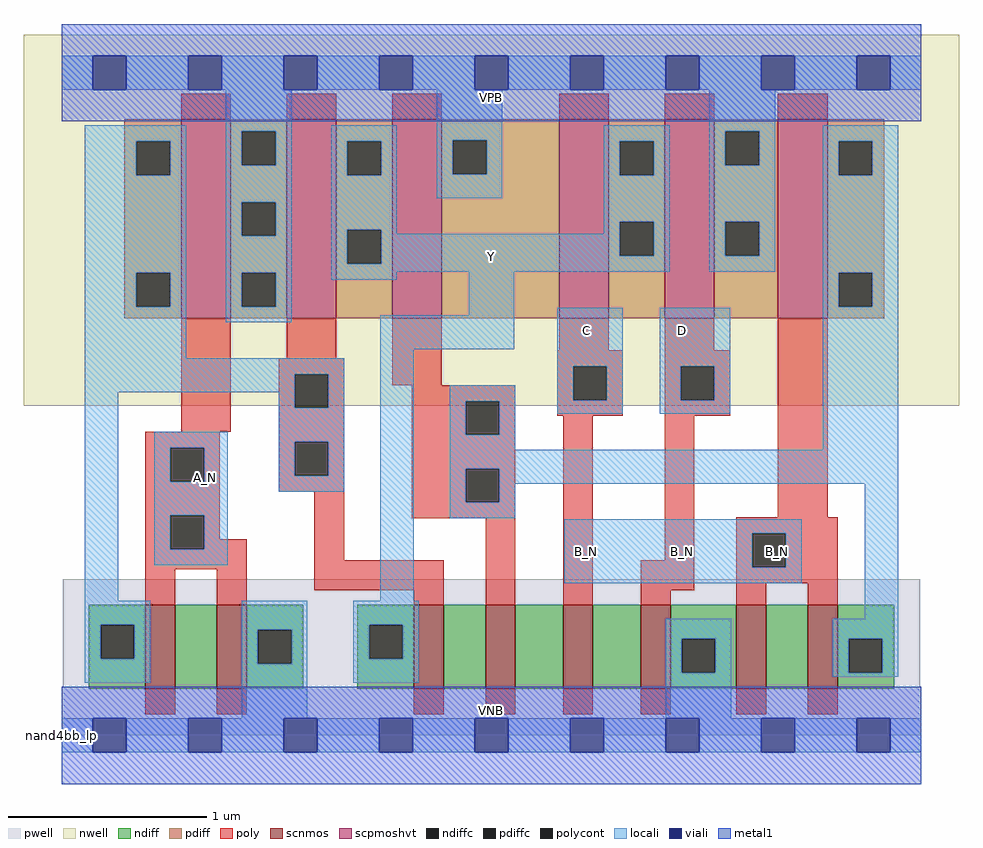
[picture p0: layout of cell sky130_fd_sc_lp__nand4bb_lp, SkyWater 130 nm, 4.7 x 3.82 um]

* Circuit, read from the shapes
.subckt sky130_fd_sc_lp__nand4bb_lp A_N B_N C D VGND VNB VPB VPWR Y
XM1 n1 A_N n2 VNB sky130_fd_pr__nfet_01v8 w=0.42 l=0.15
XM2 VGND A_N n1 VNB sky130_fd_pr__nfet_01v8 w=0.42 l=0.15
XM3 n3 n2 Y VNB sky130_fd_pr__nfet_01v8 w=0.42 l=0.15
XM4 n4 n5 n3 VNB sky130_fd_pr__nfet_01v8 w=0.42 l=0.15
XM5 n6 C n4 VNB sky130_fd_pr__nfet_01v8 w=0.42 l=0.15
XM6 VGND D n6 VNB sky130_fd_pr__nfet_01v8 w=0.42 l=0.15
XM7 n7 B_N VGND VNB sky130_fd_pr__nfet_01v8 w=0.42 l=0.15
XM8 n5 B_N n7 VNB sky130_fd_pr__nfet_01v8 w=0.42 l=0.15
XM9 VPWR A_N n2 VPB sky130_fd_pr__pfet_01v8_hvt w=1 l=0.25
XM10 Y n2 VPWR VPB sky130_fd_pr__pfet_01v8_hvt w=1 l=0.25
XM11 VPWR n5 Y VPB sky130_fd_pr__pfet_01v8_hvt w=1 l=0.25
XM12 Y C VPWR VPB sky130_fd_pr__pfet_01v8_hvt w=1 l=0.25
XM13 VPWR D Y VPB sky130_fd_pr__pfet_01v8_hvt w=1 l=0.25
XM14 n5 B_N VPWR VPB sky130_fd_pr__pfet_01v8_hvt w=1 l=0.25
.ends

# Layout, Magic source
magic
tech sky130A
magscale 1 2
<< nwell >>
rect -38 331 902 704
<< pwell >>
rect 1 49 863 157
rect 0 0 864 49
<< scnmos >>
rect 84 47 114 131
rect 156 47 186 131
rect 354 47 384 131
rect 426 47 456 131
rect 504 47 534 131
rect 582 47 612 131
rect 678 47 708 131
rect 750 47 780 131
<< scpmoshvt >>
rect 120 419 170 619
rect 226 419 276 619
rect 332 419 382 619
rect 500 419 550 619
rect 606 419 656 619
rect 720 419 770 619
<< ndiff >>
rect 27 111 84 131
rect 27 77 39 111
rect 73 77 84 111
rect 27 47 84 77
rect 114 47 156 131
rect 186 106 243 131
rect 186 72 197 106
rect 231 72 243 106
rect 186 47 243 72
rect 297 111 354 131
rect 297 77 309 111
rect 343 77 354 111
rect 297 47 354 77
rect 384 47 426 131
rect 456 47 504 131
rect 534 47 582 131
rect 612 97 678 131
rect 612 63 623 97
rect 657 63 678 97
rect 612 47 678 63
rect 708 47 750 131
rect 780 97 837 131
rect 780 63 791 97
rect 825 63 837 97
rect 780 47 837 63
<< pdiff >>
rect 63 597 120 619
rect 63 563 75 597
rect 109 563 120 597
rect 63 465 120 563
rect 63 431 75 465
rect 109 431 120 465
rect 63 419 120 431
rect 170 607 226 619
rect 170 573 181 607
rect 215 573 226 607
rect 170 536 226 573
rect 170 502 181 536
rect 215 502 226 536
rect 170 465 226 502
rect 170 431 181 465
rect 215 431 226 465
rect 170 419 226 431
rect 276 597 332 619
rect 276 563 287 597
rect 321 563 332 597
rect 276 508 332 563
rect 276 474 287 508
rect 321 474 332 508
rect 276 419 332 474
rect 382 598 500 619
rect 382 564 393 598
rect 427 564 500 598
rect 382 419 500 564
rect 550 597 606 619
rect 550 563 561 597
rect 595 563 606 597
rect 550 516 606 563
rect 550 482 561 516
rect 595 482 606 516
rect 550 419 606 482
rect 656 607 720 619
rect 656 573 667 607
rect 701 573 720 607
rect 656 516 720 573
rect 656 482 667 516
rect 701 482 720 516
rect 656 419 720 482
rect 770 597 827 619
rect 770 563 781 597
rect 815 563 827 597
rect 770 465 827 563
rect 770 431 781 465
rect 815 431 827 465
rect 770 419 827 431
<< ndiffc >>
rect 39 77 73 111
rect 197 72 231 106
rect 309 77 343 111
rect 623 63 657 97
rect 791 63 825 97
<< pdiffc >>
rect 75 563 109 597
rect 75 431 109 465
rect 181 573 215 607
rect 181 502 215 536
rect 181 431 215 465
rect 287 563 321 597
rect 287 474 321 508
rect 393 564 427 598
rect 561 563 595 597
rect 561 482 595 516
rect 667 573 701 607
rect 667 482 701 516
rect 781 563 815 597
rect 781 431 815 465
<< poly >>
rect 120 619 170 645
rect 226 619 276 645
rect 332 619 382 645
rect 500 619 550 645
rect 606 619 656 645
rect 720 619 770 645
rect 120 305 170 419
rect 226 379 276 419
rect 218 363 284 379
rect 218 329 234 363
rect 268 329 284 363
rect 332 352 382 419
rect 500 387 550 419
rect 606 387 656 419
rect 498 371 564 387
rect 84 289 159 305
rect 84 255 109 289
rect 143 255 159 289
rect 84 221 159 255
rect 218 295 284 329
rect 218 261 234 295
rect 268 261 284 295
rect 218 245 284 261
rect 84 187 109 221
rect 143 197 159 221
rect 143 187 186 197
rect 84 167 186 187
rect 84 131 114 167
rect 156 131 186 167
rect 254 176 284 245
rect 352 336 456 352
rect 352 302 406 336
rect 440 302 456 336
rect 498 337 514 371
rect 548 337 564 371
rect 498 321 564 337
rect 606 371 672 387
rect 606 337 622 371
rect 656 337 672 371
rect 606 321 672 337
rect 352 268 456 302
rect 352 234 406 268
rect 440 234 456 268
rect 352 218 456 234
rect 254 146 384 176
rect 354 131 384 146
rect 426 131 456 218
rect 504 131 534 321
rect 606 176 636 321
rect 720 219 770 419
rect 582 146 636 176
rect 678 203 780 219
rect 678 169 694 203
rect 728 169 780 203
rect 678 153 780 169
rect 582 131 612 146
rect 678 131 708 153
rect 750 131 780 153
rect 84 21 114 47
rect 156 21 186 47
rect 354 21 384 47
rect 426 21 456 47
rect 504 21 534 47
rect 582 21 612 47
rect 678 21 708 47
rect 750 21 780 47
<< polycont >>
rect 234 329 268 363
rect 109 255 143 289
rect 234 261 268 295
rect 109 187 143 221
rect 406 302 440 336
rect 514 337 548 371
rect 622 337 656 371
rect 406 234 440 268
rect 694 169 728 203
<< locali >>
rect 0 649 31 683
rect 65 649 127 683
rect 161 649 223 683
rect 257 649 319 683
rect 353 649 415 683
rect 449 649 511 683
rect 545 649 607 683
rect 641 649 703 683
rect 737 649 799 683
rect 833 649 864 683
rect 23 597 125 613
rect 23 563 75 597
rect 109 563 125 597
rect 23 465 125 563
rect 23 431 75 465
rect 109 431 125 465
rect 23 379 125 431
rect 165 607 231 649
rect 165 573 181 607
rect 215 573 231 607
rect 165 536 231 573
rect 165 502 181 536
rect 215 502 231 536
rect 165 465 231 502
rect 165 431 181 465
rect 215 431 231 465
rect 271 597 337 613
rect 271 563 287 597
rect 321 563 337 597
rect 271 508 337 563
rect 377 598 443 649
rect 377 564 393 598
rect 427 564 443 598
rect 377 540 443 564
rect 545 597 611 613
rect 545 563 561 597
rect 595 563 611 597
rect 271 474 287 508
rect 321 504 337 508
rect 545 516 611 563
rect 545 504 561 516
rect 321 482 561 504
rect 595 482 611 516
rect 321 474 611 482
rect 271 466 611 474
rect 651 607 717 649
rect 651 573 667 607
rect 701 573 717 607
rect 651 516 717 573
rect 651 482 667 516
rect 701 482 717 516
rect 651 466 717 482
rect 765 597 841 613
rect 765 563 781 597
rect 815 563 841 597
rect 271 458 337 466
rect 165 415 231 431
rect 409 422 455 466
rect 765 465 841 563
rect 765 431 781 465
rect 815 431 841 465
rect 320 388 455 422
rect 23 363 284 379
rect 23 345 234 363
rect 23 135 57 345
rect 218 329 234 345
rect 268 329 284 363
rect 93 289 167 305
rect 93 255 109 289
rect 143 255 167 289
rect 93 221 167 255
rect 218 295 284 329
rect 218 261 234 295
rect 268 261 284 295
rect 218 245 284 261
rect 93 187 109 221
rect 143 187 167 221
rect 93 171 167 187
rect 320 135 354 388
rect 498 371 564 430
rect 390 336 456 352
rect 390 302 406 336
rect 440 302 456 336
rect 498 337 514 371
rect 548 337 564 371
rect 498 323 564 337
rect 601 371 672 430
rect 601 337 622 371
rect 656 337 672 371
rect 601 323 672 337
rect 390 287 456 302
rect 765 287 841 431
rect 390 268 841 287
rect 390 234 406 268
rect 440 253 841 268
rect 440 234 456 253
rect 390 218 456 234
rect 505 203 744 217
rect 505 169 694 203
rect 728 169 744 203
rect 505 153 744 169
rect 23 111 89 135
rect 23 77 39 111
rect 73 77 89 111
rect 23 53 89 77
rect 181 106 247 135
rect 181 72 197 106
rect 231 72 247 106
rect 181 17 247 72
rect 293 111 359 135
rect 807 117 841 253
rect 293 77 309 111
rect 343 77 359 111
rect 293 53 359 77
rect 607 97 673 117
rect 607 63 623 97
rect 657 63 673 97
rect 607 17 673 63
rect 775 97 841 117
rect 775 63 791 97
rect 825 63 841 97
rect 775 59 841 63
rect 0 -17 31 17
rect 65 -17 127 17
rect 161 -17 223 17
rect 257 -17 319 17
rect 353 -17 415 17
rect 449 -17 511 17
rect 545 -17 607 17
rect 641 -17 703 17
rect 737 -17 799 17
rect 833 -17 864 17
<< viali >>
rect 31 649 65 683
rect 127 649 161 683
rect 223 649 257 683
rect 319 649 353 683
rect 415 649 449 683
rect 511 649 545 683
rect 607 649 641 683
rect 703 649 737 683
rect 799 649 833 683
rect 31 -17 65 17
rect 127 -17 161 17
rect 223 -17 257 17
rect 319 -17 353 17
rect 415 -17 449 17
rect 511 -17 545 17
rect 607 -17 641 17
rect 703 -17 737 17
rect 799 -17 833 17
<< metal1 >>
rect 0 683 864 715
rect 0 649 31 683
rect 65 649 127 683
rect 161 649 223 683
rect 257 649 319 683
rect 353 649 415 683
rect 449 649 511 683
rect 545 649 607 683
rect 641 649 703 683
rect 737 649 799 683
rect 833 649 864 683
rect 0 617 864 649
rect 0 17 864 49
rect 0 -17 31 17
rect 65 -17 127 17
rect 161 -17 223 17
rect 257 -17 319 17
rect 353 -17 415 17
rect 449 -17 511 17
rect 545 -17 607 17
rect 641 -17 703 17
rect 737 -17 799 17
rect 833 -17 864 17
rect 0 -49 864 -17
<< labels >>
flabel pwell s 0 0 864 49 0 FreeSans 200 0 0 0 VNB
port 6 nsew ground bidirectional
flabel nwell s 0 617 864 666 0 FreeSans 200 0 0 0 VPB
port 7 nsew power bidirectional
rlabel comment s 0 0 0 0 4 nand4bb_lp
flabel metal1 s 0 617 864 666 0 FreeSans 340 0 0 0 VPWR
port 8 nsew power bidirectional
flabel metal1 s 0 0 864 49 0 FreeSans 340 0 0 0 VGND
port 5 nsew ground bidirectional
flabel locali s 511 168 545 202 0 FreeSans 340 0 0 0 B_N
port 2 nsew signal input
flabel locali s 607 168 641 202 0 FreeSans 340 0 0 0 B_N
port 2 nsew signal input
flabel locali s 703 168 737 202 0 FreeSans 340 0 0 0 B_N
port 2 nsew signal input
flabel locali s 127 242 161 276 0 FreeSans 340 0 0 0 A_N
port 1 nsew signal input
flabel locali s 607 390 641 424 0 FreeSans 340 0 0 0 D
port 4 nsew signal input
flabel locali s 415 464 449 498 0 FreeSans 340 0 0 0 Y
port 9 nsew signal output
flabel locali s 511 390 545 424 0 FreeSans 340 0 0 0 C
port 3 nsew signal input
<< properties >>
string LEFsite unit
string LEFclass CORE
string FIXED_BBOX 0 0 864 666
string GDS_FILE $PDKPATH/libs.ref/sky130_fd_sc_lp/gds/sky130_fd_sc_lp.gds
string LEFsymmetry X Y R90
string GDS_END 5690218
string GDS_START 5682912
<< end >>
